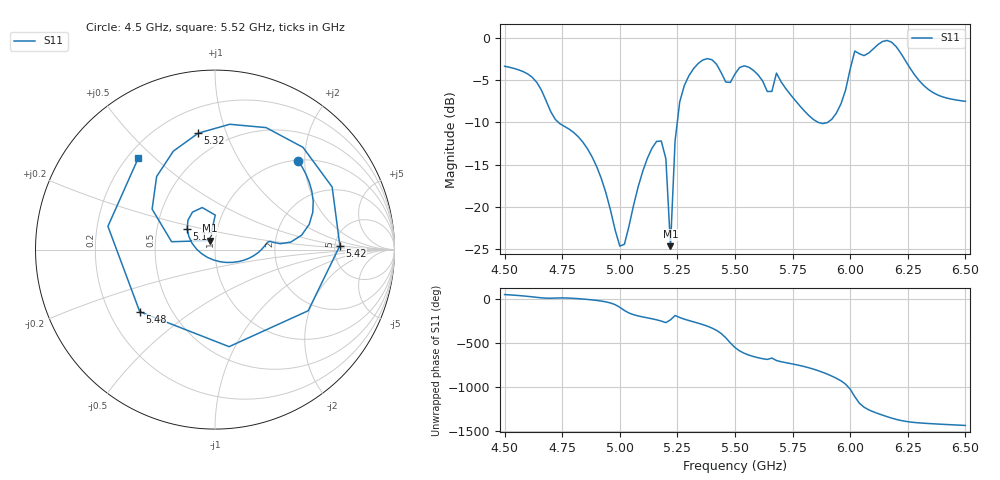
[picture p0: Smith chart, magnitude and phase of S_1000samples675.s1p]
! TOUCHSTONE file generated by CST MICROWAVE STUDIO
! Date and time: Sat Oct 29 00:02:59 2022
! Project name: L.cst
! Parameters = {Di=1.27; Epsilon_r=1.56; InnerDiameter=1.27; Length=2; Lf=10; Lg=60; OuterConductorThickness=0.2921; OuterDiameter=3.6; Wf=3; Wp=41.2; de=1.5; df=6.8; g=0.8; gx=0.765154; gy=0.562146; h=2.34; hf=1.524; px=9.98424; py=14.4079; w=9.7; wx=9.21909; wy=13.8458}
! Header version: 2018
! Port assignment regex: !\s*Touchstone port\s*([0-9]+)\s*=\s*(CST MWS port|CST DS port)\s*([0-9]+|Zmin|Zmax)\s*\(\"(.*)\"\)(\s*mode\s*([0-9]+))?.*
! Touchstone port assignment:
! Touchstone port 1 = CST MWS port 1 ("")
# GHz S DB R 50
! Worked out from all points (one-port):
!   101 points, 4.5 GHz to 6.5 GHz, reference 50 ohm
!   lowest |S11| = -24.7 dB at 5.22 GHz (marker M1), VSWR 1.12, Z = 46.9 + j4.73 ohm
!   |S11| at or under -10 dB: 4.733 GHz to 5.25 GHz (516.5 MHz wide, 10.3 % of centre); 5.859 GHz to 5.903 GHz (43.31 MHz wide, 0.736 % of centre)
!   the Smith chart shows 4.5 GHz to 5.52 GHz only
!   S11 on the Smith chart (normalised r, x): 4.5 GHz: 1.02, +1.86; 5.12 GHz: 0.71, +0.17; 5.32 GHz: 0.35, +0.80; 5.42 GHz: 5.54, +0.46; 5.48 GHz: 0.33, -0.32; 5.52 GHz: 0.24, +0.44
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4.5  -3.38 46.7
4.76  -10.50 8.3
5  -24.65 -97.2
5.12  -14.25 143.1
5.18  -12.22 106.9
5.2  -14.33 89.6
5.22  -24.65 120.8
5.26  -7.60 147.2
5.32  -3.67 98.2
5.38  -2.48 49.3
5.42  -3.15 1.8
5.46  -5.25 -81.7
5.48  -5.29 -140.5
5.5  -4.29 167.7
5.52  -3.54 129.9
5.6  -4.40 52.8
5.76  -7.38 -23.3
5.86  -10.01 -92.8
5.94  -8.93 -179.6
5.98  -6.20 113.9
6  -3.71 57.1
6.02  -1.58 -27.9
6.04  -1.91 -101.9
6.08  -1.83 -175.6
6.16  -0.33 106.6
6.2  -1.08 75.5
6.26  -3.62 46.2
6.5  -7.53 7.1
